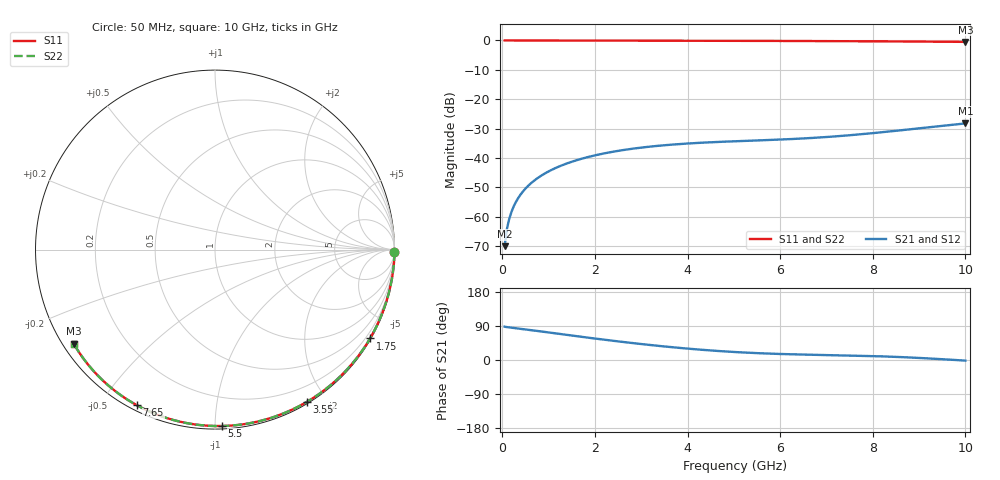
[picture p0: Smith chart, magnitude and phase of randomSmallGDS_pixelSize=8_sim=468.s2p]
! freq	dB(S11)	phase(S11)	dB(S12)	phase(S12)
!  dB(S21)	phase(S21)	dB(S22)	phase(S22)
!S-par simulation data
#  GHz  S  DB  R 50
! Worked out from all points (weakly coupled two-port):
!   200 points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, 50 MHz to 10 GHz, reference 50 ohm
!   highest |S21| = -28.25 dB at 10 GHz (marker M1); lowest = -70.1 dB at 50 MHz (marker M2)
!   lowest |S11| = -0.5 dB at 10 GHz (marker M3), VSWR 36.03, Z = 1.51 - j15.1 ohm
!   |S11| at or under -10 dB: nowhere
!   |S22| runs from -0.5 to 0.0 dB; largest |S21 - S12| = 0
!   S11 on the Smith chart (normalised r, x): 50 MHz: open; 1.75 GHz: 0.03, -3.75; 3.55 GHz: 0.02, -1.77; 5.5 GHz: 0.02, -1.04; 7.65 GHz: 0.02, -0.62; 10 GHz: 0.03, -0.30
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0.05  -0.00 -0.9  -70.05 87.9  -70.05 87.9  -0.00 -0.9
0.1  -0.00 -1.7  -64.17 86.8  -64.17 86.8  -0.00 -1.7
0.15  -0.00 -2.6  -60.74 86.0  -60.74 86.0  -0.00 -2.6
0.2  -0.00 -3.5  -58.30 85.3  -58.30 85.3  -0.00 -3.5
0.25  -0.00 -4.3  -56.39 84.6  -56.39 84.6  -0.00 -4.3
0.35  -0.00 -6.1  -53.51 83.2  -53.51 83.2  -0.00 -6.1
0.5  -0.01 -8.7  -50.45 80.8  -50.45 80.8  -0.01 -8.7
0.7  -0.01 -12.1  -47.59 77.6  -47.59 77.6  -0.01 -12.1
1  -0.02 -17.2  -44.59 72.7  -44.59 72.7  -0.02 -17.2
1.35  -0.03 -23.1  -42.14 67.0  -42.14 67.0  -0.03 -23.1
1.75  -0.04 -29.8  -40.12 60.5  -40.12 60.5  -0.04 -29.8
2.5  -0.05 -42.2  -37.59 49.1  -37.59 49.1  -0.05 -42.2
3.4  -0.08 -56.5  -35.82 36.9  -35.82 36.9  -0.08 -56.5
3.55  -0.08 -58.8  -35.62 35.1  -35.62 35.1  -0.08 -58.8
4.3  -0.10 -70.3  -34.83 27.0  -34.83 27.0  -0.10 -70.3
5.05  -0.12 -81.3  -34.31 20.9  -34.31 20.9  -0.12 -81.3
5.5  -0.14 -87.7  -34.05 18.1  -34.05 18.1  -0.14 -87.7
6.7  -0.20 -104.1  -33.19 13.8  -33.19 13.8  -0.20 -104.1
7.65  -0.26 -116.6  -32.07 11.5  -32.07 11.5  -0.26 -116.6
8.35  -0.32 -125.6  -31.01 8.9  -31.01 8.9  -0.32 -125.6
9.2  -0.39 -136.3  -29.59 4.2  -29.59 4.2  -0.39 -136.3
10  -0.48 -146.3  -28.25 -1.7  -28.25 -1.7  -0.48 -146.3
